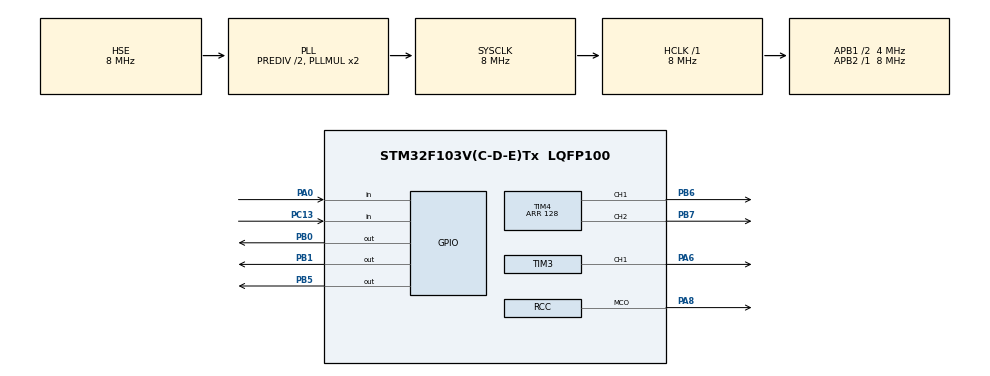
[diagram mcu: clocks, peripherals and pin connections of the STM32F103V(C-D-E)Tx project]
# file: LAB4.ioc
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Mcu.Family=STM32F1
Mcu.Name=STM32F103V(C-D-E)Tx
Mcu.Package=LQFP100
NVIC.PriorityGroup=NVIC_PRIORITYGROUP_4
OSC_IN.Mode=HSE-External-Oscillator
OSC_IN.Signal=RCC_OSC_IN
OSC_OUT.Mode=HSE-External-Oscillator
OSC_OUT.Signal=RCC_OSC_OUT
PA0-WKUP.Signal=GPIO_Input
PA13.Mode=Serial_Wire
PA13.Signal=SYS_JTMS-SWDIO
PA14.Mode=Serial_Wire
PA14.Signal=SYS_JTCK-SWCLK
PA6.Signal=S_TIM3_CH1
PA8.GPIO_Speed=GPIO_SPEED_FREQ_HIGH
PA8.Mode=Clock-out
PA8.Signal=RCC_MCO
PB0.GPIO_PuPd=GPIO_PULLUP
PB0.GPIO_Speed=GPIO_SPEED_FREQ_HIGH
PB0.PinState=GPIO_PIN_SET
PB0.Signal=GPIO_Output
PB1.GPIO_PuPd=GPIO_PULLUP
PB1.GPIO_Speed=GPIO_SPEED_FREQ_HIGH
PB1.PinState=GPIO_PIN_SET
PB1.Signal=GPIO_Output
PB5.GPIO_PuPd=GPIO_PULLUP
PB5.GPIO_Speed=GPIO_SPEED_FREQ_HIGH
PB5.PinState=GPIO_PIN_SET
PB5.Signal=GPIO_Output
PB6.GPIO_Speed=GPIO_SPEED_FREQ_HIGH
PB6.Signal=S_TIM4_CH1
PB7.Signal=S_TIM4_CH2
PC13-TAMPER-RTC.Signal=GPIO_Input
PC14-OSC32_IN.Mode=LSE-External-Oscillator
PC14-OSC32_IN.Signal=RCC_OSC32_IN
PC15-OSC32_OUT.Mode=LSE-External-Oscillator
PC15-OSC32_OUT.Signal=RCC_OSC32_OUT
ProjectManager.HeapSize=0x200
ProjectManager.StackSize=0x400
ProjectManager.TargetToolchain=STM32CubeIDE
RCC.AHBFreq_Value=8000000
RCC.APB1CLKDivider=RCC_HCLK_DIV2
RCC.APB1Freq_Value=4000000
RCC.APB1TimFreq_Value=8000000
RCC.APB2Freq_Value=8000000
RCC.APB2TimFreq_Value=8000000
RCC.HCLKFreq_Value=8000000
RCC.HSEDivPLL=RCC_HSE_PREDIV_DIV2
RCC.PLLSourceVirtual=RCC_PLLSOURCE_HSE
RCC.SYSCLKFreq_VALUE=8000000
RCC.SYSCLKSource=RCC_SYSCLKSOURCE_PLLCLK
RCC.USBFreq_Value=8000000
SH.S_TIM3_CH1.0=TIM3_CH1,PWM Generation1 CH1
SH.S_TIM4_CH1.0=TIM4_CH1,PWM Generation1 CH1
SH.S_TIM4_CH2.0=TIM4_CH2,PWM Generation2 CH2
TIM2.AutoReloadPreload=TIM_AUTORELOAD_PRELOAD_DISABLE
TIM2.Period=799
TIM2.TIM_MasterOutputTrigger=TIM_TRGO_UPDATE
TIM2.TIM_MasterSlaveMode=TIM_MASTERSLAVEMODE_ENABLE
TIM3.Channel-PWM\ Generation1\ CH1=TIM_CHANNEL_1
TIM3.Period=799
TIM3.Pulse-PWM\ Generation1\ CH1=400
TIM3.TIM_MasterOutputTrigger=TIM_TRGO_UPDATE
TIM3.TIM_MasterSlaveMode=TIM_MASTERSLAVEMODE_ENABLE
TIM4.Channel-PWM\ Generation1\ CH1=TIM_CHANNEL_1
TIM4.Channel-PWM\ Generation2\ CH2=TIM_CHANNEL_2
TIM4.Period=128
TIM4.Pulse-PWM\ Generation1\ CH1=38
VP_TIM2_VS_ClockSourceINT.Mode=Internal
VP_TIM3_VS_ClockSourceINT.Mode=Internal
VP_TIM4_VS_ClockSourceINT.Mode=Internal
VP_TIM4_VS_ClockSourceITR.Mode=TriggerSource_ITR2
VP_TIM4_VS_ControllerModeGated.Mode=Gated Mode
board=custom

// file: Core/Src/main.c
/* USER CODE BEGIN Header */
/**
  ******************************************************************************
  * @file           : main.c
  * @brief          : Main program body
  ******************************************************************************
  * @attention
  *
  * Copyright (c) 2022 STMicroelectronics.
  * All rights reserved.
  *
  * This software is licensed under terms that can be found in the LICENSE file
  * in the root directory of this software component.
  * If no LICENSE file comes with this software, it is provided AS-IS.
  *
  ******************************************************************************
  */
/* USER CODE END Header */
#include "main.h"

TIM_HandleTypeDef htim2;
TIM_HandleTypeDef htim3;
TIM_HandleTypeDef htim4;

void SystemClock_Config(void);
static void MX_GPIO_Init(void);
static void MX_TIM2_Init(void);
static void MX_TIM3_Init(void);
static void MX_TIM4_Init(void);

int main(void)
{
  /* USER CODE BEGIN 1 */

	/**
	 * 20851871
	 * Task 2:
	 * 	output PWM using TM3
	 * 	z = ((7 * 10 + 1) mod 9) + 1 = 71 mod 9 + 1 = 9
	 * 	frequency = 90kHz
	 * 	y = ((8 * 10 + 7) mod 7) + 2 = 87 mod 7 + 2 = 5
	 * 	duty cycle = 50%
	 *
	 * 	Counter Register (TIMx_CNT)
 	 *  Prescaler Register (TIMx_PSC):
	 * 	TIMx_ARR: modulates frequency 72MHz / 800 = 90kHz
	 * 	TIMx_CCR: modulates duty cycle 400
	 *
	 *
	 * 	Task 3:
	 * 	output PWM using TIM4 with TIM3 as master
	 * 	w = 51 mod 9 + 1 = 7
	 * 	frequency: 700Hz = 129
	 * 	x = 85 mod 7 + 2 = 3
	 * 	duty cycle = 30%
	 */

  /* USER CODE END 1 */

  /* MCU Configuration--------------------------------------------------------*/

  /* Reset of all peripherals, Initializes the Flash interface and the Systick. */
  HAL_Init();

  /* Configure the system clock */
  SystemClock_Config();

  /* Initialize all configured peripherals */
  MX_GPIO_Init();
  MX_TIM2_Init();
  MX_TIM3_Init();
  MX_TIM4_Init();
  /* USER CODE BEGIN 2 */
  HAL_TIM_PWM_Start(&htim2, TIM_CHANNEL_1);
  HAL_TIM_PWM_Start(&htim3, TIM_CHANNEL_1);
  HAL_TIM_PWM_Start(&htim4, TIM_CHANNEL_1);
  HAL_TIM_PWM_Start(&htim4, TIM_CHANNEL_2);
  int btnFlag = 0;
  /* USER CODE END 2 */

  /* Infinite loop */
  /* USER CODE BEGIN WHILE */
  while (1)
  {
	  if (btnFlag == 1) {
		  if (HAL_GPIO_ReadPin(GPIOC, GPIO_PIN_13) == GPIO_PIN_RESET && HAL_GPIO_ReadPin(GPIOA, GPIO_PIN_0) == GPIO_PIN_SET) {
			  HAL_GPIO_WritePin(GPIOB, GPIO_PIN_0, GPIO_PIN_RESET);
			  __HAL_TIM_SET_AUTORELOAD(&htim4,1799);
			  __HAL_TIM_SET_COMPARE(&htim4, TIM_CHANNEL_2, 90);
		  } else if (HAL_GPIO_ReadPin(GPIOC, GPIO_PIN_13) == GPIO_PIN_SET && HAL_GPIO_ReadPin(GPIOA, GPIO_PIN_0) == GPIO_PIN_RESET) {
			  HAL_GPIO_WritePin(GPIOB, GPIO_PIN_1, GPIO_PIN_RESET);
			  __HAL_TIM_SET_AUTORELOAD(&htim4,1799);
			  __HAL_TIM_SET_COMPARE(&htim4, TIM_CHANNEL_2, 45);
		  } else {
			  HAL_GPIO_WritePin(GPIOB, GPIO_PIN_0, GPIO_PIN_SET);
			  HAL_GPIO_WritePin(GPIOB, GPIO_PIN_1, GPIO_PIN_SET);
			  __HAL_TIM_SET_AUTORELOAD(&htim4,1799);
			  __HAL_TIM_SET_COMPARE(&htim4, TIM_CHANNEL_2, 68);
		  }
	  }

	  if (HAL_GPIO_ReadPin(GPIOC, GPIO_PIN_13) == GPIO_PIN_SET || HAL_GPIO_ReadPin(GPIOA, GPIO_PIN_0) == GPIO_PIN_SET) {
		  btnFlag = 1;
		  HAL_GPIO_WritePin(GPIOB, GPIO_PIN_5, GPIO_PIN_RESET);
	  }
    /* USER CODE END WHILE */

  }
}

void SystemClock_Config(void)
{
  RCC_OscInitTypeDef RCC_OscInitStruct = {0};
  RCC_ClkInitTypeDef RCC_ClkInitStruct = {0};

  /** Initializes the RCC Oscillators according to the specified parameters
  * in the RCC_OscInitTypeDef structure.
  */
  RCC_OscInitStruct.OscillatorType = RCC_OSCILLATORTYPE_HSE;
  RCC_OscInitStruct.HSEState = RCC_HSE_ON;
  RCC_OscInitStruct.HSEPredivValue = RCC_HSE_PREDIV_DIV2;
  RCC_OscInitStruct.HSIState = RCC_HSI_ON;
  RCC_OscInitStruct.PLL.PLLState = RCC_PLL_ON;
  RCC_OscInitStruct.PLL.PLLSource = RCC_PLLSOURCE_HSE;
  RCC_OscInitStruct.PLL.PLLMUL = RCC_PLL_MUL2;
  if (HAL_RCC_OscConfig(&RCC_OscInitStruct) != HAL_OK)
  {
    Error_Handler();
  }

  /** Initializes the CPU, AHB and APB buses clocks
  */
  RCC_ClkInitStruct.ClockType = RCC_CLOCKTYPE_HCLK|RCC_CLOCKTYPE_SYSCLK
                              |RCC_CLOCKTYPE_PCLK1|RCC_CLOCKTYPE_PCLK2;
  RCC_ClkInitStruct.SYSCLKSource = RCC_SYSCLKSOURCE_PLLCLK;
  RCC_ClkInitStruct.AHBCLKDivider = RCC_SYSCLK_DIV1;
  RCC_ClkInitStruct.APB1CLKDivider = RCC_HCLK_DIV2;
  RCC_ClkInitStruct.APB2CLKDivider = RCC_HCLK_DIV1;

  if (HAL_RCC_ClockConfig(&RCC_ClkInitStruct, FLASH_LATENCY_0) != HAL_OK)
  {
    Error_Handler();
  }
  HAL_RCC_MCOConfig(RCC_MCO, RCC_MCO1SOURCE_SYSCLK, RCC_MCODIV_1);
}

static void MX_TIM2_Init(void)
{

  TIM_ClockConfigTypeDef sClockSourceConfig = {0};
  TIM_MasterConfigTypeDef sMasterConfig = {0};

  htim2.Instance = TIM2;
  htim2.Init.Prescaler = 0;
  htim2.Init.CounterMode = TIM_COUNTERMODE_UP;
  htim2.Init.Period = 799;
  htim2.Init.ClockDivision = TIM_CLOCKDIVISION_DIV1;
  htim2.Init.AutoReloadPreload = TIM_AUTORELOAD_PRELOAD_DISABLE;
  if (HAL_TIM_Base_Init(&htim2) != HAL_OK)
  {
    Error_Handler();
  }
  sClockSourceConfig.ClockSource = TIM_CLOCKSOURCE_INTERNAL;
  if (HAL_TIM_ConfigClockSource(&htim2, &sClockSourceConfig) != HAL_OK)
  {
    Error_Handler();
  }
  sMasterConfig.MasterOutputTrigger = TIM_TRGO_UPDATE;
  sMasterConfig.MasterSlaveMode = TIM_MASTERSLAVEMODE_ENABLE;
  if (HAL_TIMEx_MasterConfigSynchronization(&htim2, &sMasterConfig) != HAL_OK)
  {
    Error_Handler();
  }

}

static void MX_TIM3_Init(void)
{

  TIM_ClockConfigTypeDef sClockSourceConfig = {0};
  TIM_MasterConfigTypeDef sMasterConfig = {0};
  TIM_OC_InitTypeDef sConfigOC = {0};

  htim3.Instance = TIM3;
  htim3.Init.Prescaler = 0;
  htim3.Init.CounterMode = TIM_COUNTERMODE_UP;
  htim3.Init.Period = 799;
  htim3.Init.ClockDivision = TIM_CLOCKDIVISION_DIV1;
  htim3.Init.AutoReloadPreload = TIM_AUTORELOAD_PRELOAD_DISABLE;
  if (HAL_TIM_Base_Init(&htim3) != HAL_OK)
  {
    Error_Handler();
  }
  sClockSourceConfig.ClockSource = TIM_CLOCKSOURCE_INTERNAL;
  if (HAL_TIM_ConfigClockSource(&htim3, &sClockSourceConfig) != HAL_OK)
  {
    Error_Handler();
  }
  if (HAL_TIM_PWM_Init(&htim3) != HAL_OK)
  {
    Error_Handler();
  }
  sMasterConfig.MasterOutputTrigger = TIM_TRGO_UPDATE;
  sMasterConfig.MasterSlaveMode = TIM_MASTERSLAVEMODE_ENABLE;
  if (HAL_TIMEx_MasterConfigSynchronization(&htim3, &sMasterConfig) != HAL_OK)
  {
    Error_Handler();
  }
  sConfigOC.OCMode = TIM_OCMODE_PWM1;
  sConfigOC.Pulse = 400;
  sConfigOC.OCPolarity = TIM_OCPOLARITY_HIGH;
  sConfigOC.OCFastMode = TIM_OCFAST_DISABLE;
  if (HAL_TIM_PWM_ConfigChannel(&htim3, &sConfigOC, TIM_CHANNEL_1) != HAL_OK)
  {
    Error_Handler();
  }
  HAL_TIM_MspPostInit(&htim3);

}

static void MX_TIM4_Init(void)
{

  TIM_ClockConfigTypeDef sClockSourceConfig = {0};
  TIM_SlaveConfigTypeDef sSlaveConfig = {0};
  TIM_MasterConfigTypeDef sMasterConfig = {0};
  TIM_OC_InitTypeDef sConfigOC = {0};

  htim4.Instance = TIM4;
  htim4.Init.Prescaler = 0;
  htim4.Init.CounterMode = TIM_COUNTERMODE_UP;
  htim4.Init.Period = 128;
  htim4.Init.ClockDivision = TIM_CLOCKDIVISION_DIV1;
  htim4.Init.AutoReloadPreload = TIM_AUTORELOAD_PRELOAD_DISABLE;
  if (HAL_TIM_Base_Init(&htim4) != HAL_OK)
  {
    Error_Handler();
  }
  sClockSourceConfig.ClockSource = TIM_CLOCKSOURCE_INTERNAL;
  if (HAL_TIM_ConfigClockSource(&htim4, &sClockSourceConfig) != HAL_OK)
  {
    Error_Handler();
  }
  if (HAL_TIM_PWM_Init(&htim4) != HAL_OK)
  {
    Error_Handler();
  }
  sSlaveConfig.SlaveMode = TIM_SLAVEMODE_GATED;
  sSlaveConfig.InputTrigger = TIM_TS_ITR2;
  if (HAL_TIM_SlaveConfigSynchro(&htim4, &sSlaveConfig) != HAL_OK)
  {
    Error_Handler();
  }
  sMasterConfig.MasterOutputTrigger = TIM_TRGO_RESET;
  sMasterConfig.MasterSlaveMode = TIM_MASTERSLAVEMODE_DISABLE;
  if (HAL_TIMEx_MasterConfigSynchronization(&htim4, &sMasterConfig) != HAL_OK)
  {
    Error_Handler();
  }
  sConfigOC.OCMode = TIM_OCMODE_PWM1;
  sConfigOC.Pulse = 38;
  sConfigOC.OCPolarity = TIM_OCPOLARITY_HIGH;
  sConfigOC.OCFastMode = TIM_OCFAST_DISABLE;
  if (HAL_TIM_PWM_ConfigChannel(&htim4, &sConfigOC, TIM_CHANNEL_1) != HAL_OK)
  {
    Error_Handler();
  }
  sConfigOC.Pulse = 0;
  if (HAL_TIM_PWM_ConfigChannel(&htim4, &sConfigOC, TIM_CHANNEL_2) != HAL_OK)
  {
    Error_Handler();
  }
  HAL_TIM_MspPostInit(&htim4);

}

static void MX_GPIO_Init(void)
{
  GPIO_InitTypeDef GPIO_InitStruct = {0};

  /* GPIO Ports Clock Enable */
  __HAL_RCC_GPIOC_CLK_ENABLE();
  __HAL_RCC_GPIOA_CLK_ENABLE();
  __HAL_RCC_GPIOB_CLK_ENABLE();

  /*Configure GPIO pin Output Level */
  HAL_GPIO_WritePin(GPIOB, GPIO_PIN_0|GPIO_PIN_1|GPIO_PIN_5, GPIO_PIN_SET);

  /*Configure GPIO pin : PC13 */
  GPIO_InitStruct.Pin = GPIO_PIN_13;
  GPIO_InitStruct.Mode = GPIO_MODE_INPUT;
  GPIO_InitStruct.Pull = GPIO_NOPULL;
  HAL_GPIO_Init(GPIOC, &GPIO_InitStruct);

  /*Configure GPIO pin : PA0 */
  GPIO_InitStruct.Pin = GPIO_PIN_0;
  GPIO_InitStruct.Mode = GPIO_MODE_INPUT;
  GPIO_InitStruct.Pull = GPIO_NOPULL;
  HAL_GPIO_Init(GPIOA, &GPIO_InitStruct);

  /*Configure GPIO pins : PB0 PB1 PB5 */
  GPIO_InitStruct.Pin = GPIO_PIN_0|GPIO_PIN_1|GPIO_PIN_5;
  GPIO_InitStruct.Mode = GPIO_MODE_OUTPUT_PP;
  GPIO_InitStruct.Pull = GPIO_PULLUP;
  GPIO_InitStruct.Speed = GPIO_SPEED_FREQ_HIGH;
  HAL_GPIO_Init(GPIOB, &GPIO_InitStruct);

  /*Configure GPIO pin : PA8 */
  GPIO_InitStruct.Pin = GPIO_PIN_8;
  GPIO_InitStruct.Mode = GPIO_MODE_AF_PP;
  GPIO_InitStruct.Speed = GPIO_SPEED_FREQ_HIGH;
  HAL_GPIO_Init(GPIOA, &GPIO_InitStruct);

}

void Error_Handler(void)
{
  __disable_irq();
  while (1)
  {
  }
}
